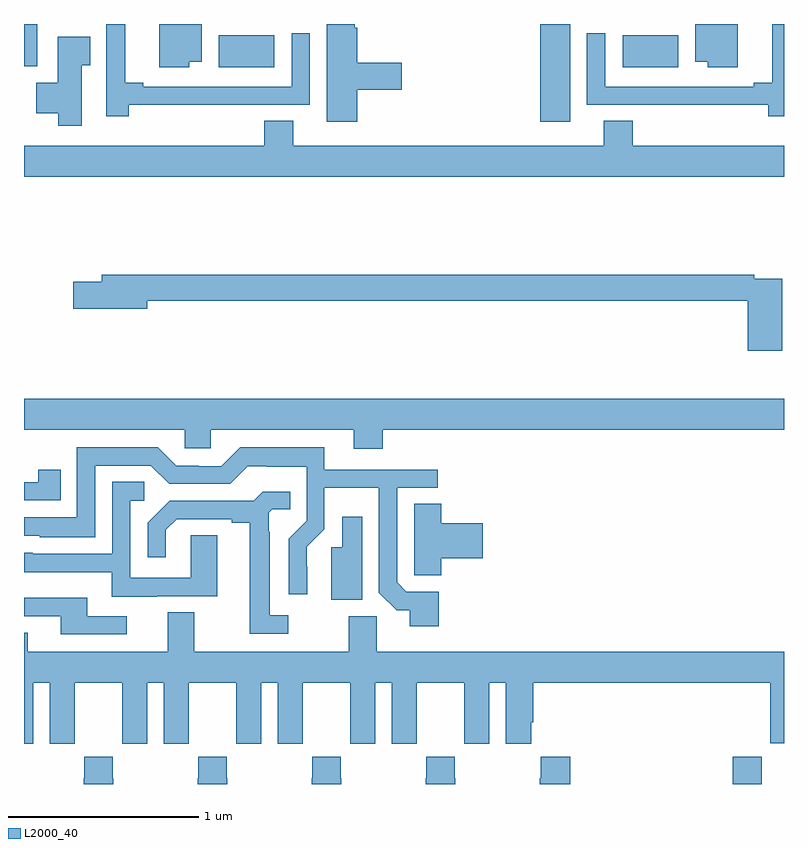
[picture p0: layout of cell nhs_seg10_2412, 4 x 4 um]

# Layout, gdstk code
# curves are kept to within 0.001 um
import gdstk
lib = gdstk.Library(unit=1e-6, precision=1e-09)
def R(c, l, rs):  # rectangles x0, y0, x1, y1
    for r in rs: c.add(gdstk.rectangle(r[:2], r[2:], *l))
def P(c, l, *ps):  # polygons
    for p in ps: c.add(gdstk.Polygon(p, *l))
L2000_40 = (2000, 40)

nhs_seg10_2412 = lib.new_cell('nhs_seg10_2412')
R(nhs_seg10_2412, L2000_40, [(244.73,1250.5,244.882,1250.643), (243.716,1253.985,243.874,1254.5), (242.024,1254.272,242.317,1254.442), (244.151,1254.272,244.444,1254.442), (241,1254.278,241.069,1254.5)])
P(nhs_seg10_2412, L2000_40, [(245,1254.5),(244.937,1254.5),(244.937,1254.191),(244.841,1254.191),(244.841,1254.171),(244.059,1254.171),(244.059,1254.451),(243.963,1254.451),(243.963,1254.075),(244.288,1254.075),(244.288,1254.074),(244.918,1254.074),(244.918,1254.015),(245,1254.015)],
  [(242.753,1254.154),(242.989,1254.154),(242.989,1254.296),(242.753,1254.296),(242.753,1254.479),(242.74,1254.479),(242.74,1254.5),(242.594,1254.5),(242.594,1253.985),(242.753,1253.985)],
  [(244.756,1254.5),(244.532,1254.5),(244.532,1254.302),(244.598,1254.302),(244.598,1254.272),(244.756,1254.272)],
  [(241.87,1254.302),(241.936,1254.302),(241.936,1254.5),(241.712,1254.5),(241.712,1254.272),(241.87,1254.272)],
  [(241.55,1254.074),(242.18,1254.074),(242.18,1254.075),(242.505,1254.075),(242.505,1254.451),(242.409,1254.451),(242.409,1254.171),(241.627,1254.171),(241.627,1254.191),(241.532,1254.191),(241.532,1254.5),(241.434,1254.5),(241.434,1254.015),(241.55,1254.015)],
  [(241.303,1254.283),(241.349,1254.283),(241.349,1254.434),(241.178,1254.434),(241.178,1254.19),(241.064,1254.19),(241.064,1254.029),(241.181,1254.029),(241.181,1253.964),(241.303,1253.964)],
  [(245,1253.86),(244.205,1253.86),(244.205,1253.99),(244.052,1253.99),(244.052,1253.86),(242.416,1253.86),(242.416,1253.99),(242.264,1253.99),(242.264,1253.86),(241,1253.86),(241,1253.696),(245,1253.696)],
  [(244.991,1253.16),(244.844,1253.16),(244.844,1253.18),(241.409,1253.18),(241.409,1253.144),(241.26,1253.144),(241.26,1253.002),(241.648,1253.002),(241.648,1253.044),(244.808,1253.044),(244.808,1252.779),(244.991,1252.779)],
  [(242.888,1252.364),(245,1252.364),(245,1252.528),(241,1252.528),(241,1252.364),(241.845,1252.364),(241.845,1252.266),(241.983,1252.266),(241.983,1252.364),(242.735,1252.364),(242.735,1252.265),(242.888,1252.265)],
  [(243.182,1251.513),(243.012,1251.513),(242.964,1251.561),(242.964,1252.059),(243.178,1252.059),(243.178,1252.155),(242.581,1252.155),(242.581,1252.273),(242.137,1252.273),(242.037,1252.173),(241.92,1252.173),(241.92,1252.176),(241.8,1252.176),(241.704,1252.272),(241.278,1252.272),(241.278,1251.903),(241,1251.903),(241,1251.807),(241.083,1251.807),(241.083,1251.8),(241.374,1251.8),(241.374,1252.176),(241.668,1252.176),(241.764,1252.08),(242.085,1252.08),(242.178,1252.173),(242.278,1252.173),(242.278,1252.169),(242.487,1252.169),(242.487,1251.885),(242.394,1251.792),(242.394,1251.498),(242.49,1251.498),(242.489,1251.75),(242.58,1251.842),(242.58,1252.058),(242.868,1252.058),(242.868,1251.507),(242.961,1251.415),(243.029,1251.415),(243.029,1251.33),(243.182,1251.33)],
  [(241.193,1252.153),(241.075,1252.153),(241.075,1252.089),(241,1252.089),(241,1251.993),(241.193,1251.993)],
  [(241.699,1251.489),(242.017,1251.489),(242.017,1251.809),(241.878,1251.809),(241.878,1251.585),(241.56,1251.585),(241.56,1251.99),(241.633,1251.99),(241.633,1252.091),(241.464,1252.091),(241.464,1251.711),(241.047,1251.711),(241.047,1251.717),(241,1251.717),(241,1251.614),(241.463,1251.614),(241.463,1251.485),(241.699,1251.485)],
  [(242.392,1251.387),(242.293,1251.387),(242.293,1251.827),(242.289,1251.827),(242.289,1251.927),(242.307,1251.945),(242.402,1251.945),(242.402,1252.037),(242.256,1252.037),(242.208,1251.99),(241.766,1251.99),(241.65,1251.874),(241.65,1251.693),(241.747,1251.693),(241.747,1251.837),(241.804,1251.894),(242.093,1251.894),(242.093,1251.874),(242.189,1251.874),(242.189,1251.291),(242.392,1251.291)],
  [(243.197,1251.689),(243.415,1251.689),(243.415,1251.872),(243.197,1251.872),(243.197,1251.974),(243.053,1251.974),(243.053,1251.706),(243.054,1251.706),(243.054,1251.598),(243.197,1251.598)],
  [(242.779,1251.907),(242.675,1251.907),(242.675,1251.747),(242.618,1251.747),(242.618,1251.469),(242.779,1251.469)],
  [(241.54,1251.384),(241.333,1251.384),(241.333,1251.481),(241,1251.481),(241,1251.384),(241.193,1251.384),(241.193,1251.288),(241.54,1251.288)],
  [(241.048,1251.032),(241.136,1251.032),(241.136,1250.712),(241.266,1250.712),(241.266,1250.824),(241.267,1250.824),(241.267,1251.032),(241.517,1251.032),(241.517,1250.824),(241.518,1250.824),(241.518,1250.712),(241.648,1250.712),(241.648,1251.032),(241.736,1251.032),(241.736,1250.712),(241.866,1250.712),(241.866,1250.824),(241.867,1250.824),(241.867,1251.032),(242.117,1251.032),(242.117,1250.824),(242.118,1250.824),(242.118,1250.712),(242.248,1250.712),(242.248,1251.032),(242.336,1251.032),(242.336,1250.712),(242.466,1250.712),(242.466,1250.824),(242.467,1250.824),(242.467,1251.032),(242.717,1251.032),(242.717,1250.824),(242.718,1250.824),(242.718,1250.712),(242.848,1250.712),(242.848,1251.032),(242.936,1251.032),(242.936,1250.712),(243.066,1250.712),(243.066,1250.824),(243.067,1250.824),(243.067,1251.032),(243.317,1251.032),(243.317,1250.824),(243.318,1250.824),(243.318,1250.712),(243.448,1250.712),(243.448,1251.032),(243.536,1251.032),(243.536,1250.712),(243.67,1250.712),(243.67,1250.824),(243.68,1250.824),(243.68,1251.032),(244.928,1251.032),(244.928,1250.715),(245,1250.715),(245,1251.196),(242.856,1251.196),(242.856,1251.384),(242.71,1251.384),(242.71,1251.196),(241.897,1251.196),(241.897,1251.404),(241.757,1251.404),(241.757,1251.196),(241.021,1251.196),(241.021,1251.295),(241,1251.295),(241,1250.712),(241.048,1250.712)],
  [(243.875,1250.644),(243.721,1250.644),(243.721,1250.531),(243.715,1250.531),(243.715,1250.5),(243.875,1250.5)],
  [(241.47,1250.531),(241.467,1250.531),(241.467,1250.644),(241.317,1250.644),(241.317,1250.531),(241.315,1250.531),(241.315,1250.5),(241.47,1250.5)],
  [(242.07,1250.531),(242.067,1250.531),(242.067,1250.644),(241.917,1250.644),(241.917,1250.531),(241.915,1250.531),(241.915,1250.5),(242.07,1250.5)],
  [(242.67,1250.531),(242.667,1250.531),(242.667,1250.644),(242.517,1250.644),(242.517,1250.531),(242.515,1250.531),(242.515,1250.5),(242.67,1250.5)],
  [(243.27,1250.531),(243.267,1250.531),(243.267,1250.644),(243.117,1250.644),(243.117,1250.531),(243.115,1250.531),(243.115,1250.5),(243.27,1250.5)])

lib.write_gds('nhs_seg10_2412.gds')
